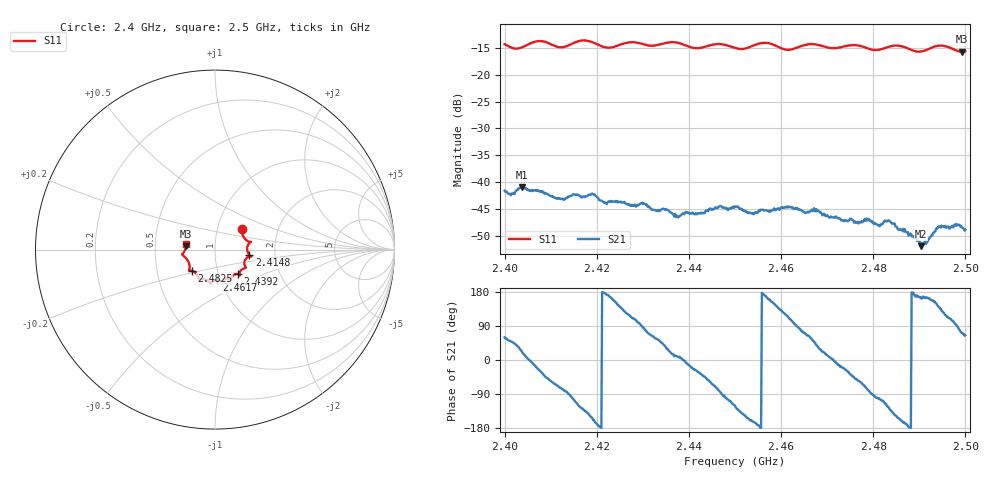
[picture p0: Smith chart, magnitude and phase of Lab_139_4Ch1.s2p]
# Hz S RI R 50
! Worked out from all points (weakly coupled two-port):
!   601 points, 2.4 GHz to 2.5 GHz, reference 50 ohm
!   highest |S21| = -40.94 dB at 2.4037 GHz (marker M1); lowest = -51.8 dB at 2.4903 GHz (marker M2)
!   lowest |S11| = -15.8 dB at 2.4993 GHz (marker M3), VSWR 1.39, Z = 36.1 + j1.39 ohm
!   |S11| at or under -10 dB: start of sweep to end of sweep
!   S12 and S22 are empty: the file has one direction only
!   S11 on the Smith chart (normalised r, x): 2.4 GHz: 1.31, +0.32; 2.4148 GHz: 1.47, -0.10; 2.4392 GHz: 1.24, -0.35; 2.4617 GHz: 0.96, -0.33; 2.4825 GHz: 0.75, -0.18; 2.5 GHz: 0.72, +0.05
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2.4e9  0.1517 0.1157  0.00421 0.00723  0 0  0 0
2.403667e9  0.168 0.0591  0.00816 0.00373  0 0  0 0
2.407667e9  0.1999 0.0432  0.00718 -0.00394  0 0  0 0
2.412333e9  0.1786 0.00189  0.00187 -0.00673  0 0  0 0
2.414833e9  0.1922 -0.0315  -0.00163 -0.00759  0 0  0 0
2.416667e9  0.2027 -0.0397  -0.00436 -0.00576  0 0  0 0
2.419167e9  0.1954 -0.0366  -0.00719 -0.00292  0 0  0 0
2.422333e9  0.1669 -0.0602  -0.00645 0.000968  0 0  0 0
2.43e9  0.1608 -0.1049  0.000507 0.00628  0 0  0 0
2.433333e9  0.1369 -0.13  0.00324 0.00434  0 0  0 0
2.439167e9  0.1282 -0.1361  0.00523 -0.000302  0 0  0 0
2.45e9  0.0713 -0.1617  -0.00305 -0.00516  0 0  0 0
2.453667e9  0.0404 -0.1791  -0.00486 -0.00173  0 0  0 0
2.461667e9  0.0086 -0.1693  -0.00213 0.00555  0 0  0 0
2.466667e9  -0.0263 -0.1899  0.00318 0.00461  0 0  0 0
2.4735e9  -0.0757 -0.165  0.00415 -0.00163  0 0  0 0
2.4825e9  -0.1307 -0.1176  -0.00183 -0.00402  0 0  0 0
2.483333e9  -0.1382 -0.1165  -0.00251 -0.00368  0 0  0 0
2.490333e9  -0.1503 -0.0634  -0.00248 0.000652  0 0  0 0
2.4945e9  -0.1832 -0.0283  -0.00279 0.00274  0 0  0 0
2.499333e9  -0.1615 0.0187  0.0012 0.00361  0 0  0 0
2.5e9  -0.1611 0.0306  0.00153 0.00331  0 0  0 0
